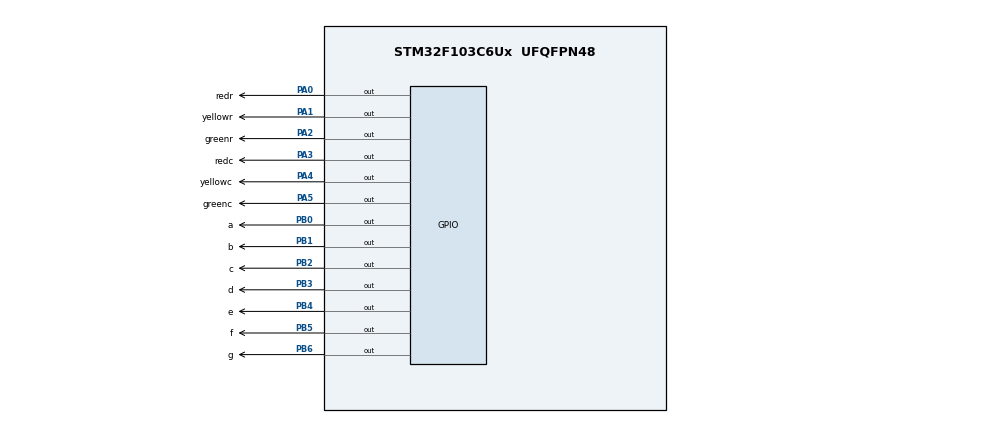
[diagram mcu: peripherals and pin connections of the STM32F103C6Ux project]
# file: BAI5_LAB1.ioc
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Mcu.Family=STM32F1
Mcu.Name=STM32F103C6Ux
Mcu.Package=UFQFPN48
NVIC.PriorityGroup=NVIC_PRIORITYGROUP_4
PA0-WKUP.GPIO_Label=redr
PA0-WKUP.Signal=GPIO_Output
PA1.GPIO_Label=yellowr
PA1.Signal=GPIO_Output
PA2.GPIO_Label=greenr
PA2.Signal=GPIO_Output
PA3.GPIO_Label=redc
PA3.Signal=GPIO_Output
PA4.GPIO_Label=yellowc
PA4.Signal=GPIO_Output
PA5.GPIO_Label=greenc
PA5.Signal=GPIO_Output
PB0.GPIO_Label=a
PB0.Signal=GPIO_Output
PB1.GPIO_Label=b
PB1.Signal=GPIO_Output
PB2.GPIO_Label=c
PB2.Signal=GPIO_Output
PB3.GPIO_Label=d
PB3.Signal=GPIO_Output
PB4.GPIO_Label=e
PB4.Signal=GPIO_Output
PB5.GPIO_Label=f
PB5.Signal=GPIO_Output
PB6.GPIO_Label=g
PB6.Signal=GPIO_Output
ProjectManager.HeapSize=0x200
ProjectManager.StackSize=0x400
ProjectManager.TargetToolchain=STM32CubeIDE
RCC.APB1Freq_Value=8000000
RCC.APB2Freq_Value=8000000
VP_SYS_VS_ND.Mode=No_Debug
board=custom

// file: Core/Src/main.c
/* USER CODE BEGIN Header */
/**
  ******************************************************************************
  * @file           : main.c
  * @brief          : Main program body
  ******************************************************************************
  * @attention
  *
  * <h2><center>&copy; Copyright (c) 2022 STMicroelectronics.
  * All rights reserved.</center></h2>
  *
  * This software component is licensed by ST under BSD 3-Clause license,
  * the "License"; You may not use this file except in compliance with the
  * License. You may obtain a copy of the License at:
  *                        opensource.org/licenses/BSD-3-Clause
  *
  ******************************************************************************
  */
/* USER CODE END Header */
#include "main.h"

void SystemClock_Config(void);
static void MX_GPIO_Init(void);

/* USER CODE BEGIN 0 */
void display7SEG(int num);
/* USER CODE END 0 */

int main(void)
{

  /* MCU Configuration--------------------------------------------------------*/

  /* Reset of all peripherals, Initializes the Flash interface and the Systick. */
  HAL_Init();

  /* Configure the system clock */
  SystemClock_Config();

  /* Initialize all configured peripherals */
  MX_GPIO_Init();

  /* Infinite loop */
  /* USER CODE BEGIN WHILE */
  int count = 10, counter = 5;
  while (1)
  {
    /* USER CODE END WHILE */
    count--;
    if (count >= 7 && count <= 9) {
      	// led red_row, green_column turn on
    	// led yellow_row, yellow_column, red_column, green_row turn off
    	// when time is between 9->7
      	HAL_GPIO_WritePin(GPIOA, redr_Pin|greenc_Pin, RESET);
        HAL_GPIO_WritePin(GPIOA, yellowr_Pin|yellowc_Pin|redc_Pin|greenr_Pin, SET);
        display7SEG(counter--);
    }
    else if(count <= 6 && count >= 5){
        // turn off led green_column and turn on yellow_column
        // when time is between 6->5
        HAL_GPIO_WritePin(yellowc_GPIO_Port, yellowc_Pin, RESET);
        HAL_GPIO_WritePin(greenc_GPIO_Port, greenc_Pin, SET);
        display7SEG(counter--);
        // time for led red_row is end. set time for led green_row
        if(counter == 0)	counter = 3;
    }
    else if(count <= 4 && count >= 2){
        // turn off led: yellow_column, red_row
        // turn on led: red_column, green_row
    	// when time is between 2->4
    	HAL_GPIO_WritePin(GPIOA, redr_Pin|yellowc_Pin, SET);
        HAL_GPIO_WritePin(GPIOA, redc_Pin|greenr_Pin, RESET);
        display7SEG(counter--);
        // time for led green_row is end. set time for led yellow_row
        if(counter == 0)	counter = 2;
    }
    else if(count <= 1 && count >= 0){
    	// turn off led: green_row
    	// turn on led:	yellow_row
    	// when time is between 0->1
        HAL_GPIO_WritePin(greenr_GPIO_Port, greenr_Pin, SET);
        HAL_GPIO_WritePin(yellowr_GPIO_Port, yellowr_Pin, RESET);
        display7SEG(counter--);
        // time for led yellow_row is end. set time for led red_row
        if(counter == 0)	counter = 5;
        if(count == 0)	count = 10;
    }
    HAL_Delay(1000);
  }
}

void SystemClock_Config(void)
{
  RCC_OscInitTypeDef RCC_OscInitStruct = {0};
  RCC_ClkInitTypeDef RCC_ClkInitStruct = {0};

  /** Initializes the RCC Oscillators according to the specified parameters
  * in the RCC_OscInitTypeDef structure.
  */
  RCC_OscInitStruct.OscillatorType = RCC_OSCILLATORTYPE_HSI;
  RCC_OscInitStruct.HSIState = RCC_HSI_ON;
  RCC_OscInitStruct.HSICalibrationValue = RCC_HSICALIBRATION_DEFAULT;
  RCC_OscInitStruct.PLL.PLLState = RCC_PLL_NONE;
  if (HAL_RCC_OscConfig(&RCC_OscInitStruct) != HAL_OK)
  {
    Error_Handler();
  }
  /** Initializes the CPU, AHB and APB buses clocks
  */
  RCC_ClkInitStruct.ClockType = RCC_CLOCKTYPE_HCLK|RCC_CLOCKTYPE_SYSCLK
                              |RCC_CLOCKTYPE_PCLK1|RCC_CLOCKTYPE_PCLK2;
  RCC_ClkInitStruct.SYSCLKSource = RCC_SYSCLKSOURCE_HSI;
  RCC_ClkInitStruct.AHBCLKDivider = RCC_SYSCLK_DIV1;
  RCC_ClkInitStruct.APB1CLKDivider = RCC_HCLK_DIV1;
  RCC_ClkInitStruct.APB2CLKDivider = RCC_HCLK_DIV1;

  if (HAL_RCC_ClockConfig(&RCC_ClkInitStruct, FLASH_LATENCY_0) != HAL_OK)
  {
    Error_Handler();
  }
}

static void MX_GPIO_Init(void)
{
  GPIO_InitTypeDef GPIO_InitStruct = {0};

  /* GPIO Ports Clock Enable */
  __HAL_RCC_GPIOA_CLK_ENABLE();
  __HAL_RCC_GPIOB_CLK_ENABLE();

  /*Configure GPIO pin Output Level */
  HAL_GPIO_WritePin(GPIOA, redr_Pin|yellowr_Pin|greenr_Pin|redc_Pin
                          |yellowc_Pin|greenc_Pin, GPIO_PIN_RESET);

  /*Configure GPIO pin Output Level */
  HAL_GPIO_WritePin(GPIOB, a_Pin|b_Pin|c_Pin|d_Pin
                          |e_Pin|f_Pin|g_Pin, GPIO_PIN_RESET);

  /*Configure GPIO pins : redr_Pin yellowr_Pin greenr_Pin redc_Pin
                           yellowc_Pin greenc_Pin */
  GPIO_InitStruct.Pin = redr_Pin|yellowr_Pin|greenr_Pin|redc_Pin
                          |yellowc_Pin|greenc_Pin;
  GPIO_InitStruct.Mode = GPIO_MODE_OUTPUT_PP;
  GPIO_InitStruct.Pull = GPIO_NOPULL;
  GPIO_InitStruct.Speed = GPIO_SPEED_FREQ_LOW;
  HAL_GPIO_Init(GPIOA, &GPIO_InitStruct);

  /*Configure GPIO pins : a_Pin b_Pin c_Pin d_Pin
                           e_Pin f_Pin g_Pin */
  GPIO_InitStruct.Pin = a_Pin|b_Pin|c_Pin|d_Pin
                          |e_Pin|f_Pin|g_Pin;
  GPIO_InitStruct.Mode = GPIO_MODE_OUTPUT_PP;
  GPIO_InitStruct.Pull = GPIO_NOPULL;
  GPIO_InitStruct.Speed = GPIO_SPEED_FREQ_LOW;
  HAL_GPIO_Init(GPIOB, &GPIO_InitStruct);

}

/* USER CODE BEGIN 4 */
void display7SEG(int num){
	if(num == 0){
		HAL_GPIO_WritePin(GPIOB, a_Pin|b_Pin|c_Pin|d_Pin|e_Pin|f_Pin, 0);
		HAL_GPIO_WritePin(GPIOB, g_Pin, 1);
	}
	else if(num == 1){
		HAL_GPIO_WritePin(GPIOB, b_Pin|c_Pin, 0);
		HAL_GPIO_WritePin(GPIOB, a_Pin|g_Pin|d_Pin|e_Pin|f_Pin, 1);
	}
	else if(num == 2){
		HAL_GPIO_WritePin(GPIOB, a_Pin|g_Pin|d_Pin|e_Pin|b_Pin, 0);
		HAL_GPIO_WritePin(GPIOB, f_Pin|c_Pin, 1);
	}
	else if(num == 3){
		HAL_GPIO_WritePin(GPIOB, a_Pin|g_Pin|d_Pin|b_Pin|c_Pin, 0);
		HAL_GPIO_WritePin(GPIOB, e_Pin|f_Pin, 1);
	}
	else if(num == 4){
		HAL_GPIO_WritePin(GPIOB, f_Pin|b_Pin|c_Pin|g_Pin, 0);
		HAL_GPIO_WritePin(GPIOB, a_Pin|d_Pin|e_Pin, 1);
	}
	else if(num == 5){
		HAL_GPIO_WritePin(GPIOB, a_Pin|g_Pin|d_Pin|f_Pin|c_Pin, 0);
		HAL_GPIO_WritePin(GPIOB, e_Pin|b_Pin, 1);
	}
	else if(num == 6){
		HAL_GPIO_WritePin(GPIOB, a_Pin|g_Pin|d_Pin|e_Pin|f_Pin|c_Pin, 0);
		HAL_GPIO_WritePin(GPIOB, b_Pin, 1);
	}
	else if(num == 7){
		HAL_GPIO_WritePin(GPIOB, a_Pin|b_Pin|c_Pin, 0);
		HAL_GPIO_WritePin(GPIOB, g_Pin|d_Pin|e_Pin|f_Pin, 1);
	}
	else if(num == 8){
		HAL_GPIO_WritePin(GPIOB, a_Pin|g_Pin|d_Pin|e_Pin|f_Pin|b_Pin|c_Pin, 0);
	}
	else if(num == 9){
		HAL_GPIO_WritePin(GPIOB, a_Pin|g_Pin|d_Pin|b_Pin|c_Pin|f_Pin|b_Pin, 0);
		HAL_GPIO_WritePin(GPIOB, e_Pin, 1);
	}
}
/* USER CODE END 4 */

void Error_Handler(void)
{
  __disable_irq();
  while (1)
  {
  }
}

/************************ (C) COPYRIGHT STMicroelectronics *****END OF FILE****/
